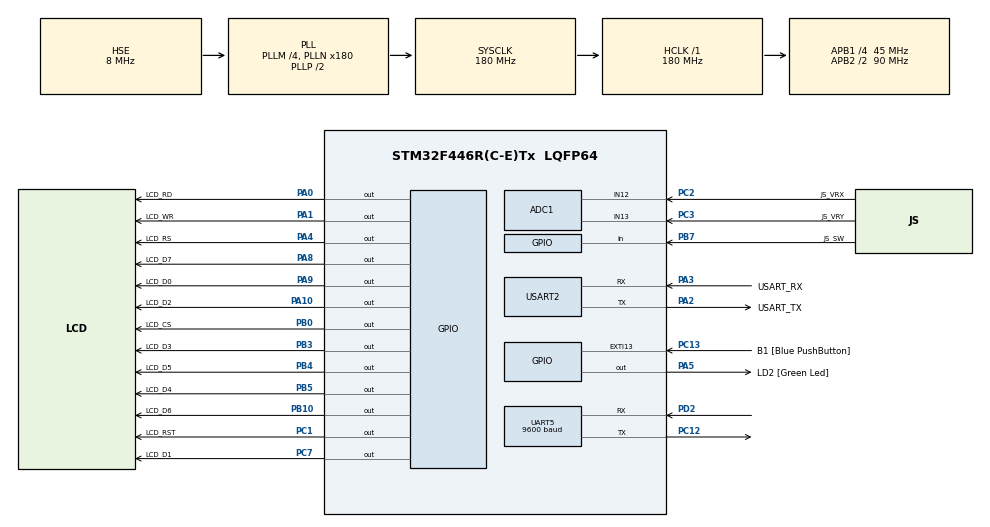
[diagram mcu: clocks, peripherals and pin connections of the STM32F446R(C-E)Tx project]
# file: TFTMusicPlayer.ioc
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ADC1.Channel-0\#ChannelRegularConversion=ADC_CHANNEL_12
ADC1.Channel-1\#ChannelRegularConversion=ADC_CHANNEL_13
ADC1.NbrOfConversion=2
ADC1.NbrOfConversionFlag=1
ADC1.Rank-0\#ChannelRegularConversion=1
ADC1.Rank-1\#ChannelRegularConversion=2
ADC1.SamplingTime-0\#ChannelRegularConversion=ADC_SAMPLETIME_15CYCLES
ADC1.SamplingTime-1\#ChannelRegularConversion=ADC_SAMPLETIME_15CYCLES
ADC1.master=1
Dma.Request0=UART5_RX
Dma.Request1=UART5_TX
Dma.UART5_RX.0.Direction=DMA_PERIPH_TO_MEMORY
Dma.UART5_RX.0.FIFOMode=DMA_FIFOMODE_DISABLE
Dma.UART5_RX.0.Instance=DMA1_Stream0
Dma.UART5_RX.0.MemDataAlignment=DMA_MDATAALIGN_BYTE
Dma.UART5_RX.0.MemInc=DMA_MINC_ENABLE
Dma.UART5_RX.0.Mode=DMA_NORMAL
Dma.UART5_RX.0.PeriphDataAlignment=DMA_PDATAALIGN_BYTE
Dma.UART5_RX.0.PeriphInc=DMA_PINC_DISABLE
Dma.UART5_RX.0.Priority=DMA_PRIORITY_LOW
Dma.UART5_TX.1.Direction=DMA_MEMORY_TO_PERIPH
Dma.UART5_TX.1.FIFOMode=DMA_FIFOMODE_DISABLE
Dma.UART5_TX.1.Instance=DMA1_Stream7
Dma.UART5_TX.1.MemDataAlignment=DMA_MDATAALIGN_BYTE
Dma.UART5_TX.1.MemInc=DMA_MINC_ENABLE
Dma.UART5_TX.1.Mode=DMA_NORMAL
Dma.UART5_TX.1.PeriphDataAlignment=DMA_PDATAALIGN_BYTE
Dma.UART5_TX.1.PeriphInc=DMA_PINC_DISABLE
Dma.UART5_TX.1.Priority=DMA_PRIORITY_LOW
Mcu.Family=STM32F4
Mcu.Name=STM32F446R(C-E)Tx
Mcu.Package=LQFP64
NVIC.DMA1_Stream0_IRQn=true\:0\:0\:false\:false\:true\:false\:true\:true
NVIC.DMA1_Stream7_IRQn=true\:0\:0\:false\:false\:true\:false\:true\:true
NVIC.PriorityGroup=NVIC_PRIORITYGROUP_0
PA0-WKUP.GPIO_Label=LCD_RD
PA0-WKUP.GPIO_PuPd=GPIO_NOPULL
PA0-WKUP.Signal=GPIO_Output
PA1.GPIO_Label=LCD_WR
PA1.Signal=GPIO_Output
PA10.GPIO_Label=LCD_D2
PA10.Signal=GPIO_Output
PA13.GPIO_Label=TMS
PA13.Mode=Serial_Wire
PA13.Signal=SYS_JTMS-SWDIO
PA14.GPIO_Label=TCK
PA14.Mode=Serial_Wire
PA14.Signal=SYS_JTCK-SWCLK
PA2.GPIO_Label=USART_TX
PA2.Mode=Asynchronous
PA2.Signal=USART2_TX
PA3.GPIO_Label=USART_RX
PA3.Mode=Asynchronous
PA3.Signal=USART2_RX
PA4.GPIO_Label=LCD_RS
PA4.Signal=GPIO_Output
PA5.GPIO_Label=LD2 [Green Led]
PA5.Signal=GPIO_Output
PA8.GPIO_Label=LCD_D7
PA8.Signal=GPIO_Output
PA9.GPIO_Label=LCD_D0
PA9.Signal=GPIO_Output
PB0.GPIO_Label=LCD_CS
PB0.Signal=GPIO_Output
PB10.GPIO_Label=LCD_D6
PB10.Signal=GPIO_Output
PB3.GPIO_Label=LCD_D3
PB3.Signal=GPIO_Output
PB4.GPIO_Label=LCD_D5
PB4.Signal=GPIO_Output
PB5.GPIO_Label=LCD_D4
PB5.Signal=GPIO_Output
PB7.GPIO_Label=JS_SW
PB7.GPIO_PuPd=GPIO_PULLUP
PB7.Signal=GPIO_Input
PC1.GPIO_Label=LCD_RST
PC1.Signal=GPIO_Output
PC11.Signal=USART3_RX
PC12.Mode=Asynchronous
PC12.Signal=UART5_TX
PC13.GPIO_Label=B1 [Blue PushButton]
PC13.GPIO_ModeDefaultEXTI=GPIO_MODE_IT_FALLING
PC13.Signal=GPXTI13
PC14-OSC32_IN.Mode=LSE-External-Oscillator
PC14-OSC32_IN.Signal=RCC_OSC32_IN
PC15-OSC32_OUT.Mode=LSE-External-Oscillator
PC15-OSC32_OUT.Signal=RCC_OSC32_OUT
PC2.GPIO_Label=JS_VRX
PC2.Signal=ADCx_IN12
PC3.GPIO_Label=JS_VRY
PC3.Signal=ADCx_IN13
PC7.GPIO_Label=LCD_D1
PC7.GPIO_PuPd=GPIO_NOPULL
PC7.Signal=GPIO_Output
PD2.Mode=Asynchronous
PD2.Signal=UART5_RX
PH0-OSC_IN.Mode=HSE-External-Oscillator
PH0-OSC_IN.Signal=RCC_OSC_IN
PH1-OSC_OUT.Mode=HSE-External-Oscillator
PH1-OSC_OUT.Signal=RCC_OSC_OUT
ProjectManager.HeapSize=0x200
ProjectManager.StackSize=0x400
ProjectManager.TargetToolchain=CMake
RCC.48MHZClocksFreq_Value=84000000
RCC.AHBFreq_Value=180000000
RCC.APB1CLKDivider=RCC_HCLK_DIV4
RCC.APB1Freq_Value=45000000
RCC.APB1TimFreq_Value=90000000
RCC.APB2CLKDivider=RCC_HCLK_DIV2
RCC.APB2Freq_Value=90000000
RCC.APB2TimFreq_Value=180000000
RCC.CortexFreq_Value=180000000
RCC.FLatency-AdvancedSettings=FLASH_LATENCY_5
RCC.HCLKFreq_Value=180000000
RCC.HSE_VALUE=8000000
RCC.HSI_VALUE=16000000
RCC.PLLM=4
RCC.PLLN=180
RCC.PLLSourceVirtual=RCC_PLLSOURCE_HSE
RCC.SYSCLKFreq_VALUE=180000000
RCC.SYSCLKSource=RCC_SYSCLKSOURCE_PLLCLK
RCC.USBFreq_Value=180000000
RCC.VCOOutputFreq_Value=360000000
SH.ADCx_IN12.0=ADC1_IN12,IN12
SH.ADCx_IN13.0=ADC1_IN13,IN13
TIM3.Period=65535-1
TIM3.Prescaler=180-1
UART5.BaudRate=9600
UART5.VirtualMode=Asynchronous
USART2.VirtualMode=VM_ASYNC
VP_TIM3_VS_ClockSourceINT.Mode=Internal
board=NUCLEO-F446RE

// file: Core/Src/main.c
/* USER CODE BEGIN Header */
/**
  ******************************************************************************
  * @file           : main.c
  * @brief          : Main program body
  ******************************************************************************
  * @attention
  *
  * Copyright (c) 2024 STMicroelectronics.
  * All rights reserved.
  *
  * This software is licensed under terms that can be found in the LICENSE file
  * in the root directory of this software component.
  * If no LICENSE file comes with this software, it is provided AS-IS.
  *
  ******************************************************************************
  */
/* USER CODE END Header */
#include "main.h"

/* USER CODE BEGIN Includes */
#include "Serial.h"
#include "DFPCMS.h"
#include "ILI9486.h"
#include "ScreenManager.h"
#include "Screen.h"

#include "screenIntro.h"
#include "screenBlank.h"
#include "screenVerification.h"
#include "screenMainMenu.h"
#include "screenPlayer.h"
/* USER CODE END Includes */

ADC_HandleTypeDef hadc1;

TIM_HandleTypeDef htim3;

UART_HandleTypeDef huart5;
UART_HandleTypeDef huart2;
DMA_HandleTypeDef hdma_uart5_rx;
DMA_HandleTypeDef hdma_uart5_tx;

void SystemClock_Config(void);
static void MX_GPIO_Init(void);
static void MX_DMA_Init(void);
static void MX_USART2_UART_Init(void);
static void MX_TIM3_Init(void);
static void MX_ADC1_Init(void);
static void MX_UART5_Init(void);

/* USER CODE BEGIN 0 */
#if defined(SERIAL_ESP32)
    #define UART_BUFFER SEQ_SIZE_CMD
    uint8_t Rx3Data[UART_BUFFER +1];
#elif defined(SERIAL_DFPLAYERMINI)
    #define UART_BUFFER DFMINIPLAYER_BUFFER_SIZE
    uint8_t Rx3Data[UART_BUFFER];
#endif

int isSizeRxed = 0;

uint16_t size = 0;

uint16_t ID = 0;

struct screenManager scrmng;

void HAL_UART_RxCpltCallback( UART_HandleTypeDef *huart )
{
  //HAL_UART_DMAStop(&huart);
  //bool allow_r = true;
  //allow_r = Rx3Data[0]==0 && Rx3Data[1]==0 && Rx3Data[2]==0 && Rx3Data[3]==0 && Rx3Data[4]==0 && Rx3Data[5]==0 && Rx3Data[6]==0 && Rx3Data[7]==0 && Rx3Data[8]==0 && Rx3Data[9]==0;
  //allow_r = !allow_r;
  //if(allow_r  ){
    Serial_pushData(Rx3Data, UART_BUFFER);
	  Serial_print(&huart2," %s","R: " );
	  for( int i = 0; i < UART_BUFFER; i++ ){
	  	Serial_print(&huart2,"%1X ",Rx3Data[i] );
	  }
	  Serial_print(&huart2," %s","\n" );
  //memset(Rx3Data, 0, UART_BUFFER);
  //}

	HAL_UART_Receive_DMA(huart, Rx3Data,UART_BUFFER);
}

void evaluateScreen( struct screenManager *sm )
{
  if ( sm->actualScreen == 1 )
  {
    timeCounter_verifyTimer( &scrmng.s.tc );
    if ( scrmng.s.tc.timerReached )
    {
      timeCounter_endTimer(&scrmng.s.tc);
      sm->actualScreen = 3 ;
    }
  }
  else if( sm->actualScreen == 3 )
  {
    screenVerification_eval(&scrmng);
  }
  else if( sm->actualScreen == 4 )
  {
    screenMainMenu_eval(&scrmng);
  }
  else if( sm->actualScreen == 5 )
  {
    screenPlayer_eval(&scrmng);
  }
}

void selectScreen( struct screenManager *sm )
{
  sm->s.screenNumber = sm->actualScreen;
  switch (sm->actualScreen)
  {
  case 1:
    screenIntro_init(sm);
    if ( sm->s.tc.delay > 0)
    {
      timeCounter_initTimer( &sm->s.tc );
    }
    break;
  case 2:
    screenBlank_init(sm);
    break;
  case 3:
    screenVerification_init(sm);
    break;
  case 4:
    screenMainMenu_init(sm);
    break;
  case 5:
    screenPlayer_init(sm);
    break;
  default:
    break;
  }
}

void initModules()
{
  int err = -1;
  dfpcms_initiation();
  dfpcms_pause();
  //dfpcms_waitingPlayPause(STATUS_PAUSE);
  ID = readID();
  Serial_print( &huart2, "id: %x\n", ID && 0xffff);
  HAL_Delay(100);
  tft_init(ID);
  setRotation(3);
  scrmng.totalScreens = 5;
  err = screenManager_init(&scrmng);
  scrmng.actualScreen = 1;
  selectScreen( &scrmng );
}

/* USER CODE END 0 */

int main(void)
{

  /* MCU Configuration--------------------------------------------------------*/

  /* Reset of all peripherals, Initializes the Flash interface and the Systick. */
  HAL_Init();

  /* Configure the system clock */
  SystemClock_Config();

  /* Initialize all configured peripherals */
  MX_GPIO_Init();
  MX_DMA_Init();
  MX_USART2_UART_Init();
  MX_TIM3_Init();
  MX_ADC1_Init();
  MX_UART5_Init();
  /* USER CODE BEGIN 2 */

  HAL_TIM_Base_Start(&htim3);
  HAL_UART_Receive_DMA(&huart5, Rx3Data, UART_BUFFER);

  initModules();

  /* USER CODE END 2 */

  /* Infinite loop */
  while (1)
  {
    uint8_t actualScreenM = scrmng.actualScreen;
    evaluateScreen(&scrmng);
    if( actualScreenM != scrmng.actualScreen )
    {
      selectScreen( &scrmng );
    }
  }
}

void SystemClock_Config(void)
{
  RCC_OscInitTypeDef RCC_OscInitStruct = {0};
  RCC_ClkInitTypeDef RCC_ClkInitStruct = {0};

  /** Configure the main internal regulator output voltage
  */
  __HAL_RCC_PWR_CLK_ENABLE();
  __HAL_PWR_VOLTAGESCALING_CONFIG(PWR_REGULATOR_VOLTAGE_SCALE1);

  /** Initializes the RCC Oscillators according to the specified parameters
  * in the RCC_OscInitTypeDef structure.
  */
  RCC_OscInitStruct.OscillatorType = RCC_OSCILLATORTYPE_HSE;
  RCC_OscInitStruct.HSEState = RCC_HSE_ON;
  RCC_OscInitStruct.PLL.PLLState = RCC_PLL_ON;
  RCC_OscInitStruct.PLL.PLLSource = RCC_PLLSOURCE_HSE;
  RCC_OscInitStruct.PLL.PLLM = 4;
  RCC_OscInitStruct.PLL.PLLN = 180;
  RCC_OscInitStruct.PLL.PLLP = RCC_PLLP_DIV2;
  RCC_OscInitStruct.PLL.PLLQ = 2;
  RCC_OscInitStruct.PLL.PLLR = 2;
  if (HAL_RCC_OscConfig(&RCC_OscInitStruct) != HAL_OK)
  {
    Error_Handler();
  }

  /** Activate the Over-Drive mode
  */
  if (HAL_PWREx_EnableOverDrive() != HAL_OK)
  {
    Error_Handler();
  }

  /** Initializes the CPU, AHB and APB buses clocks
  */
  RCC_ClkInitStruct.ClockType = RCC_CLOCKTYPE_HCLK|RCC_CLOCKTYPE_SYSCLK
                              |RCC_CLOCKTYPE_PCLK1|RCC_CLOCKTYPE_PCLK2;
  RCC_ClkInitStruct.SYSCLKSource = RCC_SYSCLKSOURCE_PLLCLK;
  RCC_ClkInitStruct.AHBCLKDivider = RCC_SYSCLK_DIV1;
  RCC_ClkInitStruct.APB1CLKDivider = RCC_HCLK_DIV4;
  RCC_ClkInitStruct.APB2CLKDivider = RCC_HCLK_DIV2;

  if (HAL_RCC_ClockConfig(&RCC_ClkInitStruct, FLASH_LATENCY_5) != HAL_OK)
  {
    Error_Handler();
  }
}

static void MX_ADC1_Init(void)
{

  ADC_ChannelConfTypeDef sConfig = {0};

  /** Configure the global features of the ADC (Clock, Resolution, Data Alignment and number of conversion)
  */
  hadc1.Instance = ADC1;
  hadc1.Init.ClockPrescaler = ADC_CLOCK_SYNC_PCLK_DIV4;
  hadc1.Init.Resolution = ADC_RESOLUTION_12B;
  hadc1.Init.ScanConvMode = ENABLE;
  hadc1.Init.ContinuousConvMode = DISABLE;
  hadc1.Init.DiscontinuousConvMode = DISABLE;
  hadc1.Init.ExternalTrigConvEdge = ADC_EXTERNALTRIGCONVEDGE_NONE;
  hadc1.Init.ExternalTrigConv = ADC_SOFTWARE_START;
  hadc1.Init.DataAlign = ADC_DATAALIGN_RIGHT;
  hadc1.Init.NbrOfConversion = 2;
  hadc1.Init.DMAContinuousRequests = DISABLE;
  hadc1.Init.EOCSelection = ADC_EOC_SINGLE_CONV;
  if (HAL_ADC_Init(&hadc1) != HAL_OK)
  {
    Error_Handler();
  }

  /** Configure for the selected ADC regular channel its corresponding rank in the sequencer and its sample time.
  */
  sConfig.Channel = ADC_CHANNEL_12;
  sConfig.Rank = 1;
  sConfig.SamplingTime = ADC_SAMPLETIME_15CYCLES;
  if (HAL_ADC_ConfigChannel(&hadc1, &sConfig) != HAL_OK)
  {
    Error_Handler();
  }

  /** Configure for the selected ADC regular channel its corresponding rank in the sequencer and its sample time.
  */
  sConfig.Channel = ADC_CHANNEL_13;
  sConfig.Rank = 2;
  if (HAL_ADC_ConfigChannel(&hadc1, &sConfig) != HAL_OK)
  {
    Error_Handler();
  }

}

static void MX_TIM3_Init(void)
{

  TIM_ClockConfigTypeDef sClockSourceConfig = {0};
  TIM_MasterConfigTypeDef sMasterConfig = {0};

  htim3.Instance = TIM3;
  htim3.Init.Prescaler = 180-1;
  htim3.Init.CounterMode = TIM_COUNTERMODE_UP;
  htim3.Init.Period = 65535-1;
  htim3.Init.ClockDivision = TIM_CLOCKDIVISION_DIV1;
  htim3.Init.AutoReloadPreload = TIM_AUTORELOAD_PRELOAD_DISABLE;
  if (HAL_TIM_Base_Init(&htim3) != HAL_OK)
  {
    Error_Handler();
  }
  sClockSourceConfig.ClockSource = TIM_CLOCKSOURCE_INTERNAL;
  if (HAL_TIM_ConfigClockSource(&htim3, &sClockSourceConfig) != HAL_OK)
  {
    Error_Handler();
  }
  sMasterConfig.MasterOutputTrigger = TIM_TRGO_RESET;
  sMasterConfig.MasterSlaveMode = TIM_MASTERSLAVEMODE_DISABLE;
  if (HAL_TIMEx_MasterConfigSynchronization(&htim3, &sMasterConfig) != HAL_OK)
  {
    Error_Handler();
  }

}

static void MX_UART5_Init(void)
{

  huart5.Instance = UART5;
  huart5.Init.BaudRate = 9600;
  huart5.Init.WordLength = UART_WORDLENGTH_8B;
  huart5.Init.StopBits = UART_STOPBITS_1;
  huart5.Init.Parity = UART_PARITY_NONE;
  huart5.Init.Mode = UART_MODE_TX_RX;
  huart5.Init.HwFlowCtl = UART_HWCONTROL_NONE;
  huart5.Init.OverSampling = UART_OVERSAMPLING_16;
  if (HAL_UART_Init(&huart5) != HAL_OK)
  {
    Error_Handler();
  }

}

static void MX_USART2_UART_Init(void)
{

  huart2.Instance = USART2;
  huart2.Init.BaudRate = 115200;
  huart2.Init.WordLength = UART_WORDLENGTH_8B;
  huart2.Init.StopBits = UART_STOPBITS_1;
  huart2.Init.Parity = UART_PARITY_NONE;
  huart2.Init.Mode = UART_MODE_TX_RX;
  huart2.Init.HwFlowCtl = UART_HWCONTROL_NONE;
  huart2.Init.OverSampling = UART_OVERSAMPLING_16;
  if (HAL_UART_Init(&huart2) != HAL_OK)
  {
    Error_Handler();
  }

}

static void MX_DMA_Init(void)
{

  /* DMA controller clock enable */
  __HAL_RCC_DMA1_CLK_ENABLE();

  /* DMA interrupt init */
  /* DMA1_Stream0_IRQn interrupt configuration */
  HAL_NVIC_SetPriority(DMA1_Stream0_IRQn, 0, 0);
  HAL_NVIC_EnableIRQ(DMA1_Stream0_IRQn);
  /* DMA1_Stream7_IRQn interrupt configuration */
  HAL_NVIC_SetPriority(DMA1_Stream7_IRQn, 0, 0);
  HAL_NVIC_EnableIRQ(DMA1_Stream7_IRQn);

}

static void MX_GPIO_Init(void)
{
  GPIO_InitTypeDef GPIO_InitStruct = {0};

  /* GPIO Ports Clock Enable */
  __HAL_RCC_GPIOC_CLK_ENABLE();
  __HAL_RCC_GPIOH_CLK_ENABLE();
  __HAL_RCC_GPIOA_CLK_ENABLE();
  __HAL_RCC_GPIOB_CLK_ENABLE();
  __HAL_RCC_GPIOD_CLK_ENABLE();

  /*Configure GPIO pin Output Level */
  HAL_GPIO_WritePin(GPIOC, LCD_RST_Pin|LCD_D1_Pin, GPIO_PIN_RESET);

  /*Configure GPIO pin Output Level */
  HAL_GPIO_WritePin(GPIOA, LCD_RD_Pin|LCD_WR_Pin|LCD_RS_Pin|LD2_Pin
                          |LCD_D7_Pin|LCD_D0_Pin|LCD_D2_Pin, GPIO_PIN_RESET);

  /*Configure GPIO pin Output Level */
  HAL_GPIO_WritePin(GPIOB, LCD_CS_Pin|LCD_D6_Pin|LCD_D3_Pin|LCD_D5_Pin
                          |LCD_D4_Pin, GPIO_PIN_RESET);

  /*Configure GPIO pin : B1_Pin */
  GPIO_InitStruct.Pin = B1_Pin;
  GPIO_InitStruct.Mode = GPIO_MODE_IT_FALLING;
  GPIO_InitStruct.Pull = GPIO_NOPULL;
  HAL_GPIO_Init(B1_GPIO_Port, &GPIO_InitStruct);

  /*Configure GPIO pins : LCD_RST_Pin LCD_D1_Pin */
  GPIO_InitStruct.Pin = LCD_RST_Pin|LCD_D1_Pin;
  GPIO_InitStruct.Mode = GPIO_MODE_OUTPUT_PP;
  GPIO_InitStruct.Pull = GPIO_NOPULL;
  GPIO_InitStruct.Speed = GPIO_SPEED_FREQ_LOW;
  HAL_GPIO_Init(GPIOC, &GPIO_InitStruct);

  /*Configure GPIO pins : LCD_RD_Pin LCD_WR_Pin LCD_RS_Pin LD2_Pin
                           LCD_D7_Pin LCD_D0_Pin LCD_D2_Pin */
  GPIO_InitStruct.Pin = LCD_RD_Pin|LCD_WR_Pin|LCD_RS_Pin|LD2_Pin
                          |LCD_D7_Pin|LCD_D0_Pin|LCD_D2_Pin;
  GPIO_InitStruct.Mode = GPIO_MODE_OUTPUT_PP;
  GPIO_InitStruct.Pull = GPIO_NOPULL;
  GPIO_InitStruct.Speed = GPIO_SPEED_FREQ_LOW;
  HAL_GPIO_Init(GPIOA, &GPIO_InitStruct);

  /*Configure GPIO pins : LCD_CS_Pin LCD_D6_Pin LCD_D3_Pin LCD_D5_Pin
                           LCD_D4_Pin */
  GPIO_InitStruct.Pin = LCD_CS_Pin|LCD_D6_Pin|LCD_D3_Pin|LCD_D5_Pin
                          |LCD_D4_Pin;
  GPIO_InitStruct.Mode = GPIO_MODE_OUTPUT_PP;
  GPIO_InitStruct.Pull = GPIO_NOPULL;
  GPIO_InitStruct.Speed = GPIO_SPEED_FREQ_LOW;
  HAL_GPIO_Init(GPIOB, &GPIO_InitStruct);

  /*Configure GPIO pin : PC11 */
  GPIO_InitStruct.Pin = GPIO_PIN_11;
  GPIO_InitStruct.Mode = GPIO_MODE_AF_PP;
  GPIO_InitStruct.Pull = GPIO_NOPULL;
  GPIO_InitStruct.Speed = GPIO_SPEED_FREQ_VERY_HIGH;
  GPIO_InitStruct.Alternate = GPIO_AF7_USART3;
  HAL_GPIO_Init(GPIOC, &GPIO_InitStruct);

  /*Configure GPIO pin : JS_SW_Pin */
  GPIO_InitStruct.Pin = JS_SW_Pin;
  GPIO_InitStruct.Mode = GPIO_MODE_INPUT;
  GPIO_InitStruct.Pull = GPIO_PULLUP;
  HAL_GPIO_Init(JS_SW_GPIO_Port, &GPIO_InitStruct);

}

void Error_Handler(void)
{
  __disable_irq();
  while (1)
  {
  }
}
